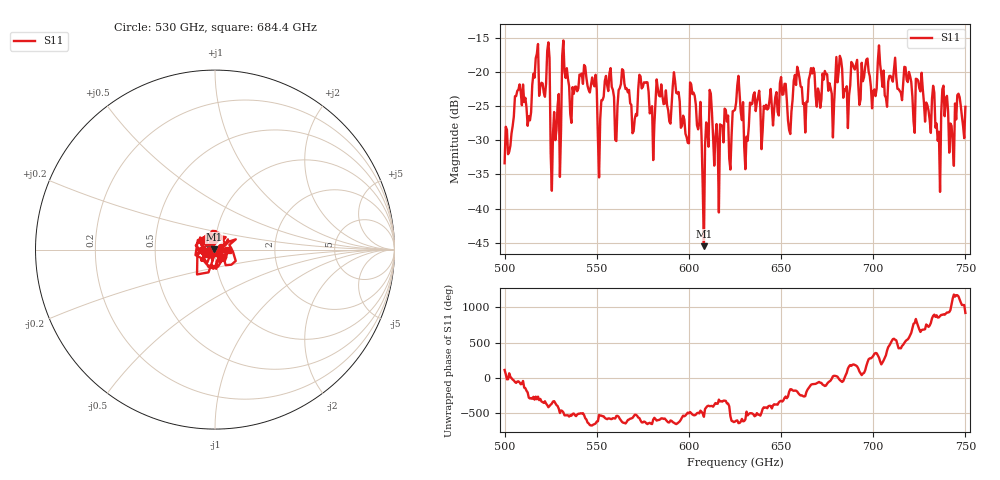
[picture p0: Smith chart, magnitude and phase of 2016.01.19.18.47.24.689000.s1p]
!Created with skrf (http://scikit-rf.org).
# GHz S RI R 50.0
!freq ReS11 ImS11
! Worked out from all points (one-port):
!   401 points, 500 GHz to 750 GHz, reference 50 ohm
!   lowest |S11| = -45.5 dB at 608.1 GHz (marker M1), VSWR 1.01, Z = 49.5 + j0.0751 ohm
!   |S11| at or under -10 dB: start of sweep to end of sweep
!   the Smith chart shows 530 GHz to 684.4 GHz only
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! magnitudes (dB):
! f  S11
! 500 GHz  -33.4
! 506.9 GHz  -22.8
! 513.1 GHz  -26.5
! 516.9 GHz  -18.0
! 523.1 GHz  -16.9
! 526.2 GHz  -29.1
! 531.2 GHz  -17.6
! 543.1 GHz  -18.9
! 551.9 GHz  -26.9
! 562.5 GHz  -22.3
! 570.6 GHz  -26.8
! 574.4 GHz  -22.4
! 593.8 GHz  -23.1
! 598.8 GHz  -29.5
! 601.9 GHz  -23.2
! 608.1 GHz  -45.5
! 610.6 GHz  -30.9
! 615 GHz  -27.6
! 625 GHz  -25.5
! 631.2 GHz  -29.5
! 634.4 GHz  -24.6
! 656.2 GHz  -24.1
! 687.5 GHz  -22.0
! 718.8 GHz  -21.5
! 735 GHz  -30.1
! 738.8 GHz  -26.5
! 742.5 GHz  -27.9
! 750 GHz  -25.1
